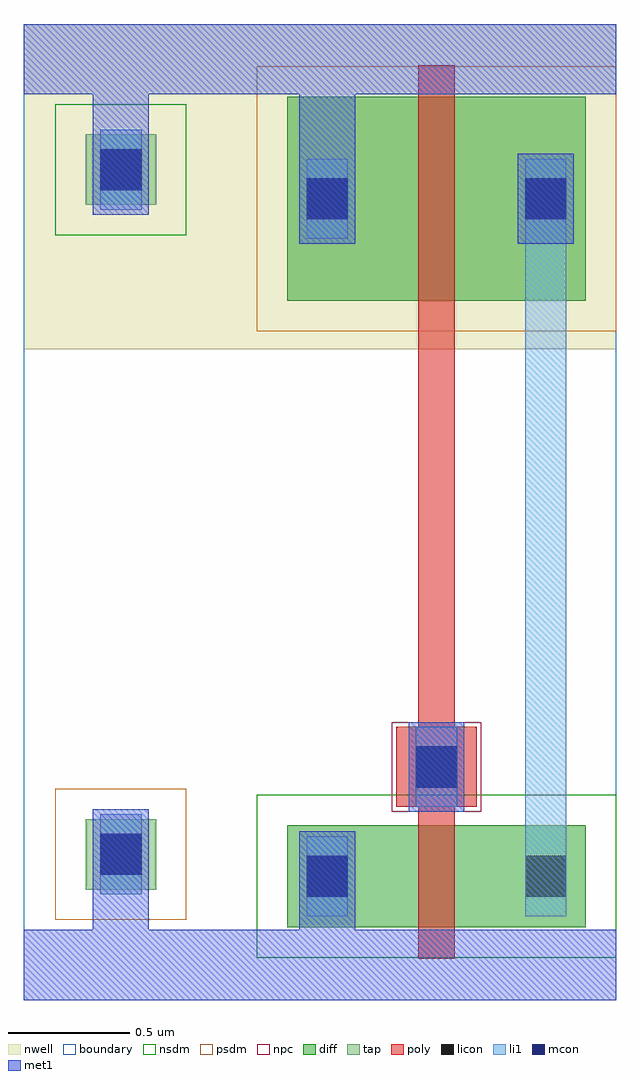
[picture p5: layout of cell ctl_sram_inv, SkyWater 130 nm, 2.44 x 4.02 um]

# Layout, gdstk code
import gdstk
lib = gdstk.Library(unit=1e-6, precision=1e-09)
def R(c, l, rs):  # rectangles x0, y0, x1, y1
    for r in rs: c.add(gdstk.rectangle(r[:2], r[2:], *l))
nwell = (64, 20)
diff = (65, 20)
tap = (65, 44)
poly = (66, 20)
licon = (66, 44)
li1 = (67, 20)
mcon = (67, 44)
met1 = (68, 20)
nsdm = (93, 44)
psdm = (94, 20)
npc = (95, 20)
boundary = (235, 4)

ctl_sram_inv = lib.new_cell('ctl_sram_inv')
R(ctl_sram_inv, nwell, [(0,2.68,2.44,4.02)])
R(ctl_sram_inv, diff, [(1.085,0.3,2.315,0.72), (1.085,2.88,2.315,3.72)])
R(ctl_sram_inv, tap, [(0.255,0.455,0.545,0.745), (0.255,3.275,0.545,3.565)])
R(ctl_sram_inv, poly, [(1.625,0.17,1.775,3.85), (1.535,0.795,1.865,1.125), (1.535,0.795,1.865,1.125)])
R(ctl_sram_inv, licon, [(1.165,0.425,1.335,0.595), (2.065,0.425,2.235,0.595), (0.315,0.515,0.485,0.685), (1.615,0.875,1.785,1.045), (1.165,3.215,1.335,3.385), (2.065,3.215,2.235,3.385), (0.315,3.335,0.485,3.505)])
R(ctl_sram_inv, li1, [(1.165,0.345,1.335,0.675), (2.065,0.345,2.235,0.675), (0.315,0.435,0.485,0.765), (2.065,0.51,2.235,3.3), (1.615,0.795,1.785,1.125), (1.165,3.135,1.335,3.465), (2.065,3.135,2.235,3.465), (0.315,3.255,0.485,3.585)])
R(ctl_sram_inv, mcon, [(1.165,0.425,1.335,0.595), (0.315,0.515,0.485,0.685), (1.615,0.875,1.785,1.045), (1.165,3.215,1.335,3.385), (2.065,3.215,2.235,3.385), (0.315,3.335,0.485,3.505)])
R(ctl_sram_inv, met1, [(0,0,2.44,0.29), (0.285,0.145,0.515,0.6), (1.135,0.145,1.365,0.695), (0.285,0.415,0.515,0.785), (1.585,0.775,1.815,1.145), (1.135,3.115,1.365,3.875), (2.035,3.115,2.265,3.485), (0.285,3.235,0.515,3.605), (0.285,3.42,0.515,3.875), (0,3.73,2.44,4.02)])
R(ctl_sram_inv, nsdm, [(0.96,0.175,2.44,0.845), (0.13,3.15,0.67,3.69)])
R(ctl_sram_inv, psdm, [(0.13,0.33,0.67,0.87), (0.96,2.755,2.44,3.845)])
R(ctl_sram_inv, npc, [(1.515,0.775,1.885,1.145)])
R(ctl_sram_inv, boundary, [(0,0,2.44,4.02)])

lib.write_gds('ctl_sram_inv.gds')
